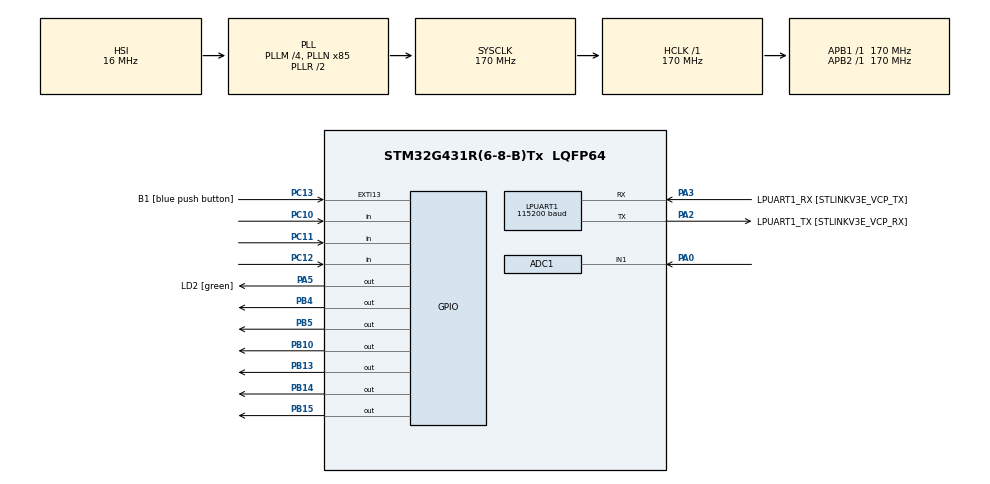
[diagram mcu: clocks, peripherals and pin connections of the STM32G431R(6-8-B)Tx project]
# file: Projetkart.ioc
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ADC1.Channel-0\#ChannelRegularConversion=ADC_CHANNEL_1
ADC1.NbrOfConversionFlag=1
ADC1.OffsetNumber-0\#ChannelRegularConversion=ADC_OFFSET_NONE
ADC1.Rank-0\#ChannelRegularConversion=1
ADC1.SamplingTime-0\#ChannelRegularConversion=ADC_SAMPLETIME_2CYCLES_5
ADC1.master=1
LPUART1.BaudRate=115200
LPUART1.WordLength=UART_WORDLENGTH_8B
Mcu.Family=STM32G4
Mcu.Name=STM32G431R(6-8-B)Tx
Mcu.Package=LQFP64
NVIC.PriorityGroup=NVIC_PRIORITYGROUP_4
PA0.Mode=IN1-Single-Ended
PA0.Signal=ADC1_IN1
PA13.GPIO_Label=T_SWDIO
PA13.Mode=Serial_Wire
PA13.Signal=SYS_JTMS-SWDIO
PA14.GPIO_Label=T_SWCLK
PA14.Mode=Serial_Wire
PA14.Signal=SYS_JTCK-SWCLK
PA2.GPIO_Label=LPUART1_TX [STLINKV3E_VCP_RX]
PA2.Mode=Asynchronous
PA2.Signal=LPUART1_TX
PA3.GPIO_Label=LPUART1_RX [STLINKV3E_VCP_TX]
PA3.Mode=Asynchronous
PA3.Signal=LPUART1_RX
PA5.GPIO_Label=LD2 [green]
PA5.Signal=GPIO_Output
PB10.Signal=GPIO_Output
PB13.Signal=GPIO_Output
PB14.Signal=GPIO_Output
PB15.Signal=GPIO_Output
PB3.GPIO_Label=T_SWO
PB3.Signal=SYS_JTDO-SWO
PB4.Signal=GPIO_Output
PB5.Signal=GPIO_Output
PC10.Signal=GPIO_Input
PC11.Signal=GPIO_Input
PC12.Signal=GPIO_Input
PC13.GPIO_Label=B1 [blue push button]
PC13.Signal=GPXTI13
PC14-OSC32_IN.Mode=LSE-External-Oscillator
PC14-OSC32_IN.Signal=RCC_OSC32_IN
PC15-OSC32_OUT.Mode=LSE-External-Oscillator
PC15-OSC32_OUT.Signal=RCC_OSC32_OUT
PF0-OSC_IN.Mode=HSE-External-Oscillator
PF0-OSC_IN.Signal=RCC_OSC_IN
PF1-OSC_OUT.Mode=HSE-External-Oscillator
PF1-OSC_OUT.Signal=RCC_OSC_OUT
ProjectManager.HeapSize=0x200
ProjectManager.StackSize=0x400
ProjectManager.TargetToolchain=STM32CubeIDE
RCC.ADC12Freq_Value=170000000
RCC.AHBFreq_Value=170000000
RCC.APB1Freq_Value=170000000
RCC.APB1TimFreq_Value=170000000
RCC.APB2Freq_Value=170000000
RCC.APB2TimFreq_Value=170000000
RCC.CortexFreq_Value=170000000
RCC.EXTERNAL_CLOCK_VALUE=12288000
RCC.HCLKFreq_Value=170000000
RCC.HSE_VALUE=24000000
RCC.HSI48_VALUE=48000000
RCC.HSI_VALUE=16000000
RCC.PLLM=RCC_PLLM_DIV4
RCC.PLLN=85
RCC.RTCClockSelection=RCC_RTCCLKSOURCE_LSE
RCC.SYSCLKFreq_VALUE=170000000
RCC.SYSCLKSource=RCC_SYSCLKSOURCE_PLLCLK
RCC.USBFreq_Value=170000000
RCC.VCOOutputFreq_Value=340000000
TIM1.PeriodNoDither=10619
VP_SYS_VS_DBSignals.Mode=DisableDeadBatterySignals
VP_TIM1_VS_ClockSourceINT.Mode=Internal
board=NUCLEO-G431RB

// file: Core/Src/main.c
/* USER CODE BEGIN Header */
/**
  ******************************************************************************
  * @file           : main.c
  * @brief          : Main program body
  ******************************************************************************
  * @attention
  *
  * Copyright (c) 2023 STMicroelectronics.
  * All rights reserved.
  *
  * This software is licensed under terms that can be found in the LICENSE file
  * in the root directory of this software component.
  * If no LICENSE file comes with this software, it is provided AS-IS.
  *
  ******************************************************************************
  */
/* USER CODE END Header */
#include "main.h"
#include "adc.h"
#include "usart.h"
#include "tim.h"
#include "gpio.h"

/* USER CODE BEGIN Includes */
#include "stm32g4xx_hal.h"
#include "math.h"
/* USER CODE END Includes */

void SystemClock_Config(void);
/* USER CODE BEGIN PFP */
void MX_GPIO_Init(void);
void Error_Handler(void);
/* USER CODE END PFP */

/* USER CODE BEGIN 0 */
uint8_t Hall_A;
uint8_t Hall_B;
uint8_t Hall_C;
/* USER CODE END 0 */

int main(void)
{

  /* MCU Configuration--------------------------------------------------------*/

  /* Reset of all peripherals, Initializes the Flash interface and the Systick. */
  HAL_Init();

  /* Configure the system clock */
  SystemClock_Config();

  /* Initialize all configured peripherals */
  MX_GPIO_Init();
  MX_LPUART1_UART_Init();
  MX_TIM1_Init();
  MX_ADC1_Init();
  /* USER CODE BEGIN 2 */

  int value = 0;

  /* USER CODE END 2 */

  /* Infinite loop */
  /* USER CODE BEGIN WHILE */
  while (1)
  {
	  Hall_A = HAL_GPIO_ReadPin(GPIOC, GPIO_PIN_10);
	  Hall_B = HAL_GPIO_ReadPin(GPIOC, GPIO_PIN_11);
	  Hall_C = HAL_GPIO_ReadPin(GPIOC, GPIO_PIN_12);

	  //value = adc_value();
	  value = 1000;
	  PWM(Hall_A, Hall_B, Hall_C);
	  HAL_Delay(value);

	  error;
    /* USER CODE END WHILE */

  }
}

void SystemClock_Config(void)
{
  RCC_OscInitTypeDef RCC_OscInitStruct = {0};
  RCC_ClkInitTypeDef RCC_ClkInitStruct = {0};

  /** Configure the main internal regulator output voltage
  */
  HAL_PWREx_ControlVoltageScaling(PWR_REGULATOR_VOLTAGE_SCALE1_BOOST);

  /** Initializes the RCC Oscillators according to the specified parameters
  * in the RCC_OscInitTypeDef structure.
  */
  RCC_OscInitStruct.OscillatorType = RCC_OSCILLATORTYPE_HSI;
  RCC_OscInitStruct.HSIState = RCC_HSI_ON;
  RCC_OscInitStruct.HSICalibrationValue = RCC_HSICALIBRATION_DEFAULT;
  RCC_OscInitStruct.PLL.PLLState = RCC_PLL_ON;
  RCC_OscInitStruct.PLL.PLLSource = RCC_PLLSOURCE_HSI;
  RCC_OscInitStruct.PLL.PLLM = RCC_PLLM_DIV4;
  RCC_OscInitStruct.PLL.PLLN = 85;
  RCC_OscInitStruct.PLL.PLLP = RCC_PLLP_DIV2;
  RCC_OscInitStruct.PLL.PLLQ = RCC_PLLQ_DIV2;
  RCC_OscInitStruct.PLL.PLLR = RCC_PLLR_DIV2;
  if (HAL_RCC_OscConfig(&RCC_OscInitStruct) != HAL_OK)
  {
    Error_Handler();
  }

  /** Initializes the CPU, AHB and APB buses clocks
  */
  RCC_ClkInitStruct.ClockType = RCC_CLOCKTYPE_HCLK|RCC_CLOCKTYPE_SYSCLK
                              |RCC_CLOCKTYPE_PCLK1|RCC_CLOCKTYPE_PCLK2;
  RCC_ClkInitStruct.SYSCLKSource = RCC_SYSCLKSOURCE_PLLCLK;
  RCC_ClkInitStruct.AHBCLKDivider = RCC_SYSCLK_DIV1;
  RCC_ClkInitStruct.APB1CLKDivider = RCC_HCLK_DIV1;
  RCC_ClkInitStruct.APB2CLKDivider = RCC_HCLK_DIV1;

  if (HAL_RCC_ClockConfig(&RCC_ClkInitStruct, FLASH_LATENCY_4) != HAL_OK)
  {
    Error_Handler();
  }
}

void Error_Handler(void)
{
  __disable_irq();
  while (1)
  {
  }
}
